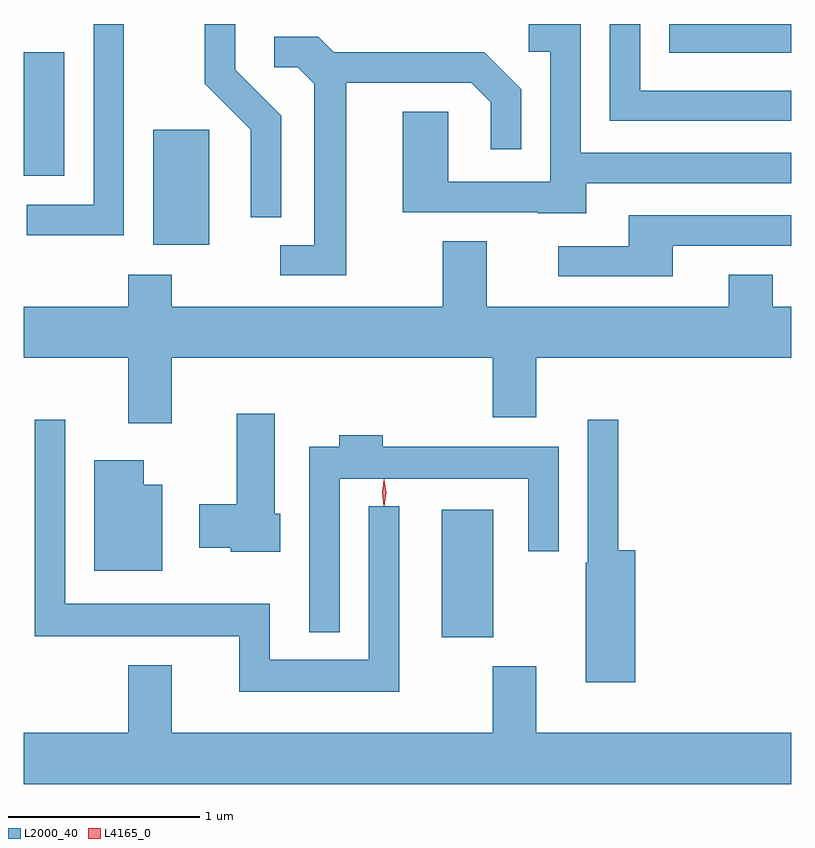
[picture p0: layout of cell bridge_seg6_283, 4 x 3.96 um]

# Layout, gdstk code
import gdstk
lib = gdstk.Library(unit=1e-6, precision=1e-09)
def R(c, l, rs):  # rectangles x0, y0, x1, y1
    for r in rs: c.add(gdstk.rectangle(r[:2], r[2:], *l))
def P(c, l, *ps):  # polygons
    for p in ps: c.add(gdstk.Polygon(p, *l))
L2000_40 = (2000, 40)
L4165_0 = (4165, 0)

bridge_seg6_283 = lib.new_cell('bridge_seg6_283')
R(bridge_seg6_283, L2000_40, [(1288.626,1537.481,1288.894,1538.144), (1287.121,1539.526,1287.414,1540.124), (1286.447,1539.886,1286.659,1540.529), (1289.811,1540.526,1290.447,1540.676)])
P(bridge_seg6_283, L2000_40, [(1286.969,1540.676),(1286.811,1540.676),(1286.811,1539.734),(1286.463,1539.734),(1286.463,1539.576),(1286.969,1539.576)],
  [(1287.789,1540.197),(1287.549,1540.437),(1287.549,1540.676),(1287.391,1540.676),(1287.391,1540.364),(1287.631,1540.124),(1287.631,1539.668),(1287.789,1539.668)],
  [(1290.447,1540.329),(1289.659,1540.329),(1289.659,1540.676),(1289.501,1540.676),(1289.501,1540.171),(1290.447,1540.171)],
  [(1289.379,1539.846),(1290.447,1539.846),(1290.447,1540.004),(1289.349,1540.004),(1289.349,1540.676),(1289.078,1540.676),(1289.078,1540.531),(1289.191,1540.531),(1289.191,1539.854),(1288.659,1539.854),(1288.659,1540.219),(1288.421,1540.219),(1288.421,1539.696),(1289.125,1539.696),(1289.125,1539.691),(1289.379,1539.691)],
  [(1288.129,1540.371),(1288.779,1540.371),(1288.881,1540.269),(1288.881,1540.023),(1289.039,1540.023),(1289.039,1540.337),(1288.847,1540.529),(1288.062,1540.529),(1287.982,1540.609),(1287.753,1540.609),(1287.753,1540.451),(1287.874,1540.451),(1287.961,1540.364),(1287.961,1539.524),(1287.783,1539.524),(1287.783,1539.366),(1288.129,1539.366)],
  [(1289.829,1539.521),(1290.447,1539.521),(1290.447,1539.679),(1289.601,1539.679),(1289.601,1539.519),(1289.233,1539.519),(1289.233,1539.361),(1289.829,1539.361)],
  [(1287.219,1538.936),(1288.891,1538.936),(1288.891,1538.626),(1289.119,1538.626),(1289.119,1538.936),(1290.447,1538.936),(1290.447,1539.204),(1290.349,1539.204),(1290.349,1539.369),(1290.121,1539.369),(1290.121,1539.204),(1288.859,1539.204),(1288.859,1539.544),(1288.631,1539.544),(1288.631,1539.204),(1287.219,1539.204),(1287.219,1539.369),(1286.991,1539.369),(1286.991,1539.204),(1286.447,1539.204),(1286.447,1538.936),(1286.991,1538.936),(1286.991,1538.596),(1287.219,1538.596)],
  [(1287.784,1538.124),(1287.754,1538.124),(1287.754,1538.644),(1287.556,1538.644),(1287.556,1538.174),(1287.361,1538.174),(1287.361,1537.946),(1287.526,1537.946),(1287.526,1537.926),(1287.784,1537.926)],
  [(1289.634,1537.934),(1289.544,1537.934),(1289.544,1538.613),(1289.386,1538.613),(1289.386,1537.87),(1289.376,1537.87),(1289.376,1537.246),(1289.634,1537.246)],
  [(1288.404,1538.163),(1288.246,1538.163),(1288.246,1537.364),(1287.729,1537.364),(1287.729,1537.654),(1286.664,1537.654),(1286.664,1538.613),(1286.506,1538.613),(1286.506,1537.486),(1287.571,1537.486),(1287.571,1537.196),(1288.404,1537.196)],
  [(1288.094,1538.306),(1289.076,1538.306),(1289.076,1537.928),(1289.234,1537.928),(1289.234,1538.474),(1288.319,1538.474),(1288.319,1538.534),(1288.091,1538.534),(1288.091,1538.474),(1287.936,1538.474),(1287.936,1537.508),(1288.094,1537.508)],
  [(1287.169,1538.274),(1287.074,1538.274),(1287.074,1538.404),(1286.816,1538.404),(1286.816,1537.826),(1287.169,1537.826)],
  [(1290.447,1536.984),(1289.119,1536.984),(1289.119,1537.329),(1288.891,1537.329),(1288.891,1536.984),(1287.219,1536.984),(1287.219,1537.334),(1286.991,1537.334),(1286.991,1536.984),(1286.447,1536.984),(1286.447,1536.716),(1290.447,1536.716)])
P(bridge_seg6_283, L4165_0, [(1288.324,1538.164),(1288.315,1538.233),(1288.324,1538.302),(1288.325,1538.303),(1288.325,1538.302),(1288.335,1538.233),(1288.325,1538.164),(1288.325,1538.164)],
  [(1288.324,1538.167),(1288.315,1538.234),(1288.324,1538.3),(1288.325,1538.301),(1288.325,1538.3),(1288.335,1538.234),(1288.325,1538.167),(1288.325,1538.167)])

lib.write_gds('bridge_seg6_283.gds')
